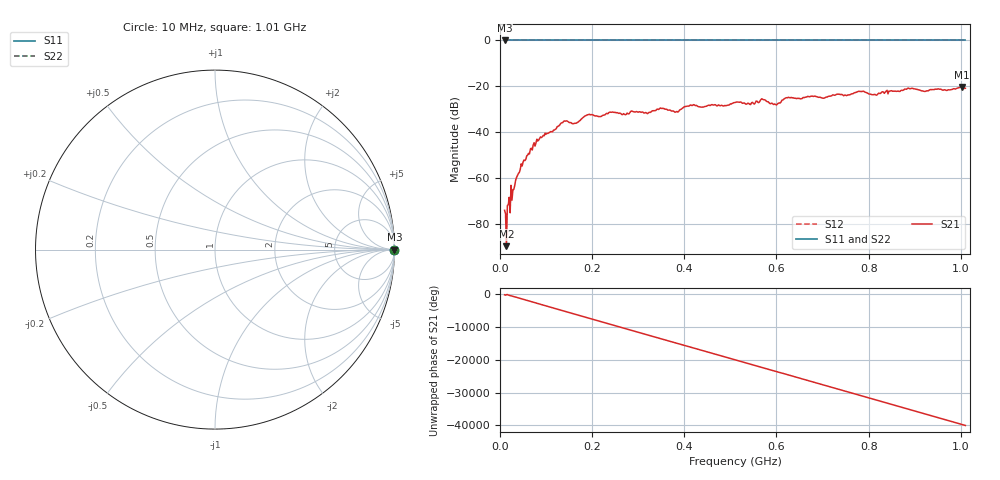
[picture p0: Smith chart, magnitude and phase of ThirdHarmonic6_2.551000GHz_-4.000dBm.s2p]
! 8/17/2025 5:12:47 AM
! C:\ANRITSUVNA\TEMP\TEMP.S2P
! CHANNEL.1
! TR.MEASUREMENT
! RAW.DATA
! RF.CORRECTION.OFF
! AVERAGING.OFF
! IF.BANDWIDTH: 5KHZ
! SWEEPTYPE:  FREQ.SWEEP(Linear)
! Reference Plane Port Info
! PORT:  PORT1  PORT2
! DISTANCE:  0  m  0  m
! TIME:  0  s  0  s
! PHASE.OFFSET:  0  deg.  0  deg.
! LOSS:  0  dB  0  dB
! REF.LOSS:  0  dB  0  dB
! REF.FREQ:  0  Hz  0  Hz
! Power Info
! POWER:  -20  dBm  -20  dBm
! EFF.POWER:  -20  dBm  -20  dBm
! SOURCE.ATTEN:  0  dB  0  dB
! TEST.ATTEN:  0  dB  0  dB
# GHZ S RI R 50.0
! FREQ.GHZ  S11RE  S11IM  S21RE  S21IM  S12RE  S12IM  S22RE  S22IM
!; PortSelection: Port_12
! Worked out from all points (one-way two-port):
!   501 points, 10 MHz to 1.01 GHz, reference 50 ohm
!   highest |S21| = -20.26 dB at 1.002 GHz (marker M1); lowest = -89.8 dB at 14 MHz (marker M2)
!   lowest |S11| = 0.0 dB at 10 MHz (marker M3)
!   |S11| at or under -10 dB: nowhere
!   |S22| runs from 0.0 to 0.0 dB; largest |S21 - S12| = 1.1
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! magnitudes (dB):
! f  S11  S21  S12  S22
! 10 MHz  0.0  -74.2  0.0  0.0
! 14 MHz  0.0  -89.8  0.0  0.0
! 18 MHz  0.0  -71.8  0.0  0.0
! 20 MHz  0.0  -68.5  0.0  0.0
! 42 MHz  0.0  -57.6  0.0  0.0
! 76 MHz  0.0  -46.2  0.0  0.0
! 136 MHz  0.0  -35.9  0.0  0.0
! 162 MHz  0.0  -36.2  0.0  0.0
! 178 MHz  0.0  -34.1  0.0  0.0
! 194 MHz  0.0  -32.2  0.0  0.0
! 322 MHz  0.0  -31.7  0.0  0.0
! 344 MHz  0.0  -30.2  0.0  0.0
! 384 MHz  0.0  -31.0  0.0  0.0
! 416 MHz  0.0  -28.4  0.0  0.0
! 510 MHz  0.0  -27.1  0.0  0.0
! 570 MHz  0.0  -25.7  0.0  0.0
! 598 MHz  0.0  -28.0  0.0  0.0
! 622 MHz  0.0  -25.0  0.0  0.0
! 678 MHz  0.0  -24.3  0.0  0.0
! 844 MHz  0.0  -22.1  0.0  0.0
! 1.002 GHz  0.0  -20.3  0.0  0.0
! 1.01 GHz  0.0  -20.9  0.0  0.0
